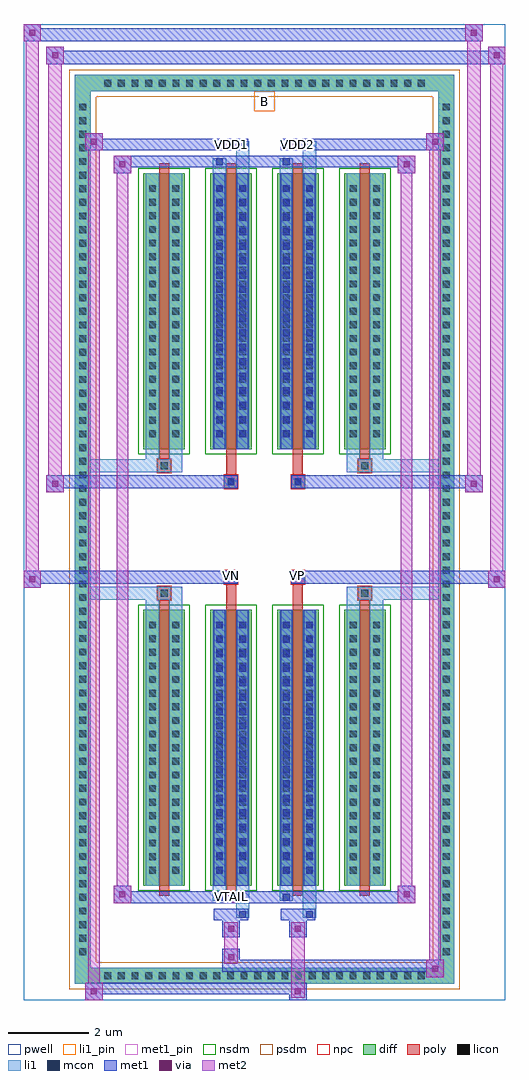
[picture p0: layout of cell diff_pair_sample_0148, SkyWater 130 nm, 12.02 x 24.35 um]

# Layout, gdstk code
import gdstk
lib = gdstk.Library(unit=1e-6, precision=5e-09)
def R(c, l, rs):  # rectangles x0, y0, x1, y1
    for r in rs: c.add(gdstk.rectangle(r[:2], r[2:], *l))
def A(c, l, x, y, w, h, nx, ny, dx, dy):  # array of equal rectangles
    R(c, l, [(x+i*dx, y+j*dy, x+i*dx+w, y+j*dy+h) for i in range(nx) for j in range(ny)])
def P(c, l, *ps):  # polygons
    for p in ps: c.add(gdstk.Polygon(p, *l))
pwell = (64, 44)
diff = (65, 20)
poly = (66, 20)
licon = (66, 44)
li1_pin = (67, 16)
li1 = (67, 20)
mcon = (67, 44)
met1_pin = (68, 16)
met1 = (68, 20)
via = (68, 44)
met2 = (69, 20)
nsdm = (93, 44)
psdm = (94, 20)
npc = (95, 20)

diff_pair_sample_0148 = lib.new_cell('diff_pair_sample_0148')
R(diff_pair_sample_0148, pwell, [(-6.01,-11.74,6.01,12.61), (-3.33,-9.93,-0.01,-0.825), (0.01,-9.93,3.33,-0.825), (-3.33,0.825,-0.01,9.93), (0.01,0.825,3.33,9.93)])
A(diff_pair_sample_0148, diff, -4.115, -11.34, 0.41, 0.41, 24, 2, 0.34, 22.27)
A(diff_pair_sample_0148, diff, -4.74, -10.745, 0.41, 0.41, 1, 63, 0, 0.34)
A(diff_pair_sample_0148, diff, 4.33, -10.745, 0.41, 0.41, 1, 63, 0, 0.34)
A(diff_pair_sample_0148, diff, -3.02, -8.885, 1.03, 6.88, 4, 2, 1.67, 10.89)
R(diff_pair_sample_0148, diff, [(-4.115,-11.34,4.115,-10.93), (-4.74,-10.745,-4.33,10.745), (4.33,-10.745,4.74,10.745), (-4.115,10.93,4.115,11.34)])
P(diff_pair_sample_0148, diff, [(4.74,11.34),(-4.74,11.34),(-4.74,-10.93),(-4.33,-10.93),(-4.33,10.93),(4.33,10.93),(4.33,-10.93),(-4.33,-10.93),(-4.74,-10.93),(-4.74,-11.34),(4.74,-11.34)])
A(diff_pair_sample_0148, poly, -2.63, -9.135, 0.25, 7.38, 4, 2, 1.67, 10.89)
R(diff_pair_sample_0148, poly, [(-2.67,-1.755,-2.34,-1.425), (-2.67,-1.755,-2.34,-1.425), (-0.96,-1.755,-0.71,-1.355), (0.71,-1.755,0.96,-1.355), (2.34,-1.755,2.67,-1.425), (2.34,-1.755,2.67,-1.425), (-1,-1.355,-0.67,-1.025), (-1,-1.355,-0.67,-1.025), (0.67,-1.355,1,-1.025), (0.67,-1.355,1,-1.025), (-1,1.025,-0.67,1.355), (-1,1.025,-0.67,1.355), (0.67,1.025,1,1.355), (0.67,1.025,1,1.355), (-0.96,1.355,-0.71,1.755), (0.71,1.355,0.96,1.755), (-2.67,1.425,-2.34,1.755), (-2.67,1.425,-2.34,1.755), (2.34,1.425,2.67,1.755), (2.34,1.425,2.67,1.755)])
A(diff_pair_sample_0148, licon, -3.995, -11.22, 0.17, 0.17, 24, 2, 0.34, 22.27)
A(diff_pair_sample_0148, licon, -4.62, -10.625, 0.17, 0.17, 1, 63, 0, 0.34)
A(diff_pair_sample_0148, licon, 4.45, -10.625, 0.17, 0.17, 1, 63, 0, 0.34)
A(diff_pair_sample_0148, licon, -2.88, -8.59, 0.17, 0.17, 1, 19, 0, 0.34)
A(diff_pair_sample_0148, licon, -2.3, -8.59, 0.17, 0.17, 1, 19, 0, 0.34)
A(diff_pair_sample_0148, licon, -1.21, -8.59, 0.17, 0.17, 1, 19, 0, 0.34)
A(diff_pair_sample_0148, licon, -0.63, -8.59, 0.17, 0.17, 1, 19, 0, 0.34)
A(diff_pair_sample_0148, licon, 0.46, -8.59, 0.17, 0.17, 1, 19, 0, 0.34)
A(diff_pair_sample_0148, licon, 1.04, -8.59, 0.17, 0.17, 1, 19, 0, 0.34)
A(diff_pair_sample_0148, licon, 2.13, -8.59, 0.17, 0.17, 1, 19, 0, 0.34)
A(diff_pair_sample_0148, licon, 2.71, -8.59, 0.17, 0.17, 1, 19, 0, 0.34)
A(diff_pair_sample_0148, licon, -2.88, 2.3, 0.17, 0.17, 1, 19, 0, 0.34)
A(diff_pair_sample_0148, licon, -2.3, 2.3, 0.17, 0.17, 1, 19, 0, 0.34)
A(diff_pair_sample_0148, licon, -1.21, 2.3, 0.17, 0.17, 1, 19, 0, 0.34)
A(diff_pair_sample_0148, licon, -0.63, 2.3, 0.17, 0.17, 1, 19, 0, 0.34)
A(diff_pair_sample_0148, licon, 0.46, 2.3, 0.17, 0.17, 1, 19, 0, 0.34)
A(diff_pair_sample_0148, licon, 1.04, 2.3, 0.17, 0.17, 1, 19, 0, 0.34)
A(diff_pair_sample_0148, licon, 2.13, 2.3, 0.17, 0.17, 1, 19, 0, 0.34)
A(diff_pair_sample_0148, licon, 2.71, 2.3, 0.17, 0.17, 1, 19, 0, 0.34)
R(diff_pair_sample_0148, licon, [(-2.59,-1.675,-2.42,-1.505), (2.42,-1.675,2.59,-1.505), (-0.92,-1.275,-0.75,-1.105), (0.75,-1.275,0.92,-1.105), (-0.92,1.105,-0.75,1.275), (0.75,1.105,0.92,1.275), (-2.59,1.505,-2.42,1.675), (2.42,1.505,2.59,1.675)])
R(diff_pair_sample_0148, li1_pin, [(-0.25,10.43,0.25,10.93)])
A(diff_pair_sample_0148, li1, -4.075, -11.3, 0.33, 0.33, 24, 2, 0.34, 22.27)
A(diff_pair_sample_0148, li1, -4.7, -10.705, 0.33, 0.33, 1, 63, 0, 0.34)
A(diff_pair_sample_0148, li1, 4.37, -10.705, 0.33, 0.33, 1, 63, 0, 0.34)
A(diff_pair_sample_0148, li1, -2.96, -8.67, 0.33, 0.33, 1, 19, 0, 0.34)
A(diff_pair_sample_0148, li1, -2.38, -8.67, 0.33, 0.33, 1, 19, 0, 0.34)
A(diff_pair_sample_0148, li1, -1.29, -8.67, 0.33, 0.33, 1, 19, 0, 0.34)
A(diff_pair_sample_0148, li1, -0.71, -8.67, 0.33, 0.33, 1, 19, 0, 0.34)
A(diff_pair_sample_0148, li1, 0.38, -8.67, 0.33, 0.33, 1, 19, 0, 0.34)
A(diff_pair_sample_0148, li1, 0.96, -8.67, 0.33, 0.33, 1, 19, 0, 0.34)
A(diff_pair_sample_0148, li1, 2.05, -8.67, 0.33, 0.33, 1, 19, 0, 0.34)
A(diff_pair_sample_0148, li1, 2.63, -8.67, 0.33, 0.33, 1, 19, 0, 0.34)
A(diff_pair_sample_0148, li1, -1.21, -8.59, 0.17, 0.17, 1, 18, 0, 0.36)
A(diff_pair_sample_0148, li1, -0.63, -8.59, 0.17, 0.17, 1, 18, 0, 0.36)
A(diff_pair_sample_0148, li1, 0.46, -8.59, 0.17, 0.17, 1, 18, 0, 0.36)
A(diff_pair_sample_0148, li1, 1.04, -8.59, 0.17, 0.17, 1, 18, 0, 0.36)
A(diff_pair_sample_0148, li1, -2.96, 2.22, 0.33, 0.33, 1, 19, 0, 0.34)
A(diff_pair_sample_0148, li1, -2.38, 2.22, 0.33, 0.33, 1, 19, 0, 0.34)
A(diff_pair_sample_0148, li1, -1.29, 2.22, 0.33, 0.33, 1, 19, 0, 0.34)
A(diff_pair_sample_0148, li1, -0.71, 2.22, 0.33, 0.33, 1, 19, 0, 0.34)
A(diff_pair_sample_0148, li1, 0.38, 2.22, 0.33, 0.33, 1, 19, 0, 0.34)
A(diff_pair_sample_0148, li1, 0.96, 2.22, 0.33, 0.33, 1, 19, 0, 0.34)
A(diff_pair_sample_0148, li1, 2.05, 2.22, 0.33, 0.33, 1, 19, 0, 0.34)
A(diff_pair_sample_0148, li1, 2.63, 2.22, 0.33, 0.33, 1, 19, 0, 0.34)
A(diff_pair_sample_0148, li1, -1.21, 2.3, 0.17, 0.17, 1, 18, 0, 0.36)
A(diff_pair_sample_0148, li1, -0.63, 2.3, 0.17, 0.17, 1, 18, 0, 0.36)
A(diff_pair_sample_0148, li1, 0.46, 2.3, 0.17, 0.17, 1, 18, 0, 0.36)
A(diff_pair_sample_0148, li1, 1.04, 2.3, 0.17, 0.17, 1, 18, 0, 0.36)
R(diff_pair_sample_0148, li1, [(-4.74,-11.34,-4.33,-10.93), (-4.74,-11.34,-4.33,-10.93), (-4.33,-11.34,4.33,-10.93), (4.33,-11.34,4.74,-10.93), (4.33,-11.34,4.74,-10.93), (-4.74,-10.93,-4.33,10.93), (4.33,-10.93,4.74,10.93), (-0.71,-9.69,-0.38,-8.885), (-0.63,-9.69,-0.46,-9.52), (0.96,-9.69,1.29,-8.885), (1.04,-9.69,1.21,-9.52), (-1.29,-9.26,-0.96,-8.885), (-1.21,-9.26,-1.04,-9.09), (0.38,-9.26,0.71,-8.885), (0.46,-9.26,0.63,-9.09), (-2.96,-8.885,-2.63,-2.005), (-2.38,-8.885,-2.05,-2.005), (-1.29,-8.885,-0.96,-2.005), (-0.71,-8.885,-0.38,-2.005), (0.38,-8.885,0.71,-2.005), (0.96,-8.885,1.29,-2.005), (2.05,-8.885,2.38,-2.005), (2.63,-8.885,2.96,-2.005), (-1.21,-8.59,-1.04,-2.3), (-0.63,-8.59,-0.46,-2.3), (0.46,-8.59,0.63,-2.3), (1.04,-8.59,1.21,-2.3), (-2.96,-2.005,-2.63,-1.425), (-2.38,-2.005,-2.05,-1.425), (2.05,-2.005,2.38,-1.425), (2.63,-2.005,2.96,-1.425), (-4.74,-1.755,-2.67,-1.425), (-2.96,-1.755,-2.67,-1.425), (-2.67,-1.755,-2.34,-1.425), (-2.34,-1.755,-2.05,-1.425), (2.05,-1.755,2.34,-1.425), (2.34,-1.755,2.67,-1.425), (2.34,-1.755,4.74,-1.425), (2.67,-1.755,2.96,-1.425), (-1,-1.355,-0.67,-1.025), (0.67,-1.355,1,-1.025), (-1,1.025,-0.67,1.355), (0.67,1.025,1,1.355), (-4.74,1.425,-2.67,1.755), (-2.96,1.425,-2.67,1.755), (-2.96,1.425,-2.63,2.005), (-2.67,1.425,-2.34,1.755), (-2.38,1.425,-2.05,2.005), (-2.34,1.425,-2.05,1.755), (2.05,1.425,2.34,1.755), (2.05,1.425,2.38,2.005), (2.34,1.425,2.67,1.755), (2.34,1.425,4.74,1.755), (2.63,1.425,2.96,2.005), (2.67,1.425,2.96,1.755), (-2.96,2.005,-2.63,8.885), (-2.38,2.005,-2.05,8.885), (-1.29,2.005,-0.96,8.885), (-0.71,2.005,-0.38,8.885), (0.38,2.005,0.71,8.885), (0.96,2.005,1.29,8.885), (2.05,2.005,2.38,8.885), (2.63,2.005,2.96,8.885), (-1.21,2.3,-1.04,8.59), (-0.63,2.3,-0.46,8.59), (0.46,2.3,0.63,8.59), (1.04,2.3,1.21,8.59), (-1.29,8.885,-0.96,9.26), (-0.71,8.885,-0.38,9.69), (0.38,8.885,0.71,9.26), (0.96,8.885,1.29,9.69), (-1.21,9.09,-1.04,9.26), (0.46,9.09,0.63,9.26), (-0.63,9.52,-0.46,9.69), (1.04,9.52,1.21,9.69), (-4.74,10.93,-4.33,11.34), (-4.74,10.93,-4.33,11.34), (-4.33,10.93,4.33,11.34), (4.33,10.93,4.74,11.34), (4.33,10.93,4.74,11.34)])
A(diff_pair_sample_0148, mcon, -1.21, -8.59, 0.17, 0.17, 1, 18, 0, 0.36)
A(diff_pair_sample_0148, mcon, -0.63, -8.59, 0.17, 0.17, 1, 18, 0, 0.36)
A(diff_pair_sample_0148, mcon, 0.46, -8.59, 0.17, 0.17, 1, 18, 0, 0.36)
A(diff_pair_sample_0148, mcon, 1.04, -8.59, 0.17, 0.17, 1, 18, 0, 0.36)
A(diff_pair_sample_0148, mcon, -1.21, 2.3, 0.17, 0.17, 1, 18, 0, 0.36)
A(diff_pair_sample_0148, mcon, -0.63, 2.3, 0.17, 0.17, 1, 18, 0, 0.36)
A(diff_pair_sample_0148, mcon, 0.46, 2.3, 0.17, 0.17, 1, 18, 0, 0.36)
A(diff_pair_sample_0148, mcon, 1.04, 2.3, 0.17, 0.17, 1, 18, 0, 0.36)
R(diff_pair_sample_0148, mcon, [(-0.63,-9.69,-0.46,-9.52), (1.04,-9.69,1.21,-9.52), (-1.21,-9.26,-1.04,-9.09), (0.46,-9.26,0.63,-9.09), (-0.92,-1.275,-0.75,-1.105), (0.75,-1.275,0.92,-1.105), (-0.92,1.105,-0.75,1.275), (0.75,1.105,0.92,1.275), (-1.21,9.09,-1.04,9.26), (0.46,9.09,0.63,9.26), (-0.63,9.52,-0.46,9.69), (1.04,9.52,1.21,9.69)])
R(diff_pair_sample_0148, met1_pin, [(-0.97,-9.3,-0.7,-9.03), (-0.97,-1.295,-0.7,-1.025), (0.7,-1.295,0.97,-1.025), (-0.97,9.48,-0.7,9.75), (0.7,9.48,0.97,9.75)])
A(diff_pair_sample_0148, met1, -1.27, -8.65, 0.29, 0.29, 1, 18, 0, 0.36)
A(diff_pair_sample_0148, met1, -0.69, -8.65, 0.29, 0.29, 1, 18, 0, 0.36)
A(diff_pair_sample_0148, met1, 0.4, -8.65, 0.29, 0.29, 1, 18, 0, 0.36)
A(diff_pair_sample_0148, met1, 0.98, -8.65, 0.29, 0.29, 1, 18, 0, 0.36)
A(diff_pair_sample_0148, met1, -1.27, 2.24, 0.29, 0.29, 1, 18, 0, 0.36)
A(diff_pair_sample_0148, met1, -0.69, 2.24, 0.29, 0.29, 1, 18, 0, 0.36)
A(diff_pair_sample_0148, met1, 0.4, 2.24, 0.29, 0.29, 1, 18, 0, 0.36)
A(diff_pair_sample_0148, met1, 0.98, 2.24, 0.29, 0.29, 1, 18, 0, 0.36)
R(diff_pair_sample_0148, met1, [(-4.47,-11.74,-4.04,-11.31), (0.62,-11.74,1.05,-11.31), (-4.47,-11.6,1.05,-11.31), (4.04,-11.17,4.47,-10.74), (-1.05,-11.03,4.47,-10.74), (-1.05,-10.89,-0.62,-10.46), (-1.05,-10.18,-0.62,-9.75), (0.62,-10.18,1.05,-9.75), (-1.27,-9.75,-0.4,-9.46), (-0.69,-9.75,-0.4,-9.46), (0.4,-9.75,1.27,-9.46), (0.98,-9.75,1.27,-9.46), (-3.76,-9.32,-3.33,-8.89), (-3.76,-9.32,-1.27,-9.03), (-1.27,-9.32,-0.98,-9.03), (-1.27,-9.32,-0.4,-9.03), (-0.4,-9.32,0.4,-9.03), (0.4,-9.32,0.69,-9.03), (0.4,-9.32,1.27,-9.03), (1.27,-9.32,3.76,-9.03), (3.33,-9.32,3.76,-8.89), (-1.27,-8.885,-0.98,-2.005), (-0.69,-8.885,-0.4,-2.005), (0.4,-8.885,0.69,-2.005), (0.98,-8.885,1.27,-2.005), (-6.01,-1.455,-5.58,-1.025), (5.58,-1.455,6.01,-1.025), (-6.01,-1.355,-0.67,-1.025), (-1,-1.355,-0.67,-1.025), (0.67,-1.355,1,-1.025), (0.67,-1.355,6.01,-1.025), (-0.98,-1.335,-0.69,-1.045), (0.69,-1.335,0.98,-1.045), (-5.44,0.925,-5.01,1.355), (5.01,0.925,5.44,1.355), (-5.44,1.025,-1,1.355), (-1,1.025,-0.67,1.355), (0.67,1.025,1,1.355), (1,1.025,5.44,1.355), (-0.98,1.045,-0.69,1.335), (0.69,1.045,0.98,1.335), (-1.27,2.005,-0.98,8.885), (-0.69,2.005,-0.4,8.885), (0.4,2.005,0.69,8.885), (0.98,2.005,1.27,8.885), (-3.76,8.89,-3.33,9.32), (3.33,8.89,3.76,9.32), (-3.76,9.03,-1.27,9.32), (-1.27,9.03,-0.98,9.32), (-1.27,9.03,-0.4,9.32), (-0.4,9.03,0.4,9.32), (0.4,9.03,0.69,9.32), (0.4,9.03,1.27,9.32), (1.27,9.03,3.76,9.32), (-4.47,9.46,-4.04,9.89), (-4.47,9.46,-1.27,9.75), (-1.27,9.46,-0.4,9.75), (-0.69,9.46,-0.4,9.75), (0.4,9.46,1.27,9.75), (0.98,9.46,1.27,9.75), (1.27,9.46,4.47,9.75), (4.04,9.46,4.47,9.89), (-5.44,11.61,-5.01,12.04), (-5.44,11.61,-3.33,11.94), (-3.33,11.61,3.33,11.94), (3.33,11.61,6.01,11.94), (5.58,11.61,6.01,12.04), (-6.01,12.18,-5.58,12.61), (-6.01,12.18,-3.33,12.51), (-3.33,12.18,3.33,12.51), (3.33,12.18,5.44,12.51), (5.01,12.18,5.44,12.61)])
R(diff_pair_sample_0148, via, [(-4.33,-11.6,-4.18,-11.45), (0.76,-11.6,0.91,-11.45), (4.18,-11.03,4.33,-10.88), (-0.91,-10.75,-0.76,-10.6), (-0.91,-10.04,-0.76,-9.89), (0.76,-10.04,0.91,-9.89), (-3.62,-9.18,-3.47,-9.03), (3.47,-9.18,3.62,-9.03), (-5.87,-1.315,-5.72,-1.165), (5.72,-1.315,5.87,-1.165), (-5.3,1.065,-5.15,1.215), (5.15,1.065,5.3,1.215), (-3.62,9.03,-3.47,9.18), (3.47,9.03,3.62,9.18), (-4.33,9.6,-4.18,9.75), (4.18,9.6,4.33,9.75), (-5.3,11.75,-5.15,11.9), (5.72,11.75,5.87,11.9), (-5.87,12.32,-5.72,12.47), (5.15,12.32,5.3,12.47)])
R(diff_pair_sample_0148, met2, [(-4.47,-11.74,-4.04,-11.31), (-4.4,-11.74,-4.11,9.89), (-4.11,-11.74,-4.04,-11.31), (-4.42,-11.69,-4.09,-11.36), (0.67,-11.69,1,-11.36), (0.67,-11.36,1,-10.13), (4.04,-11.17,4.47,-10.74), (4.11,-11.17,4.4,9.89), (4.4,-11.17,4.47,-10.74), (4.09,-11.12,4.42,-10.79), (-1,-10.84,-0.67,-10.51), (-1,-10.51,-0.67,-10.13), (-1,-10.13,-0.67,-9.8), (0.67,-10.13,1,-9.8), (-3.76,-9.32,-3.33,-8.89), (-3.69,-9.32,-3.4,9.32), (-3.4,-9.32,-3.33,-8.89), (3.33,-9.32,3.76,-8.89), (3.4,-9.32,3.69,9.32), (3.69,-9.32,3.76,-8.89), (-3.71,-9.27,-3.38,-8.94), (3.38,-9.27,3.71,-8.94), (-6.01,-1.455,-5.58,-1.025), (-5.96,-1.455,-5.63,12.61), (-5.63,-1.455,-5.58,-1.025), (5.58,-1.455,6.01,-1.025), (5.63,-1.455,5.96,12.04), (5.96,-1.455,6.01,-1.025), (-5.96,-1.405,-5.63,-1.075), (5.63,-1.405,5.96,-1.075), (-5.44,0.925,-5.01,1.355), (-5.39,0.925,-5.06,12.04), (-5.06,0.925,-5.01,1.355), (5.01,0.925,5.44,1.355), (5.06,0.925,5.39,12.61), (5.39,0.925,5.44,1.355), (-5.39,0.975,-5.06,1.305), (5.06,0.975,5.39,1.305), (-3.76,8.89,-3.33,9.32), (-3.4,8.89,-3.33,9.32), (3.33,8.89,3.76,9.32), (3.69,8.89,3.76,9.32), (-3.71,8.94,-3.38,9.27), (3.38,8.94,3.71,9.27), (-4.47,9.46,-4.04,9.89), (-4.11,9.46,-4.04,9.89), (4.04,9.46,4.47,9.89), (4.4,9.46,4.47,9.89), (-4.42,9.51,-4.09,9.84), (4.09,9.51,4.42,9.84), (-5.44,11.61,-5.01,12.04), (-5.06,11.61,-5.01,12.04), (5.58,11.61,6.01,12.04), (5.96,11.61,6.01,12.04), (-5.39,11.66,-5.06,11.99), (5.63,11.66,5.96,11.99), (-6.01,12.18,-5.58,12.61), (-5.63,12.18,-5.58,12.61), (5.01,12.18,5.44,12.61), (5.39,12.18,5.44,12.61), (-5.96,12.23,-5.63,12.56), (5.06,12.23,5.39,12.56)])
A(diff_pair_sample_0148, nsdm, -3.15, -9.015, 1.29, 7.14, 4, 2, 1.67, 10.89)
P(diff_pair_sample_0148, psdm, [(4.87,11.47),(-4.87,11.47),(-4.87,-10.8),(-4.2,-10.8),(-4.2,10.8),(4.2,10.8),(4.2,-10.8),(-4.2,-10.8),(-4.87,-10.8),(-4.87,-11.47),(4.87,-11.47)])
R(diff_pair_sample_0148, npc, [(-2.69,-1.775,-2.32,-1.405), (2.32,-1.775,2.69,-1.405), (-1.02,-1.375,-0.65,-1.005), (0.65,-1.375,1.02,-1.005), (-1.02,1.005,-0.65,1.375), (0.65,1.005,1.02,1.375), (-2.69,1.405,-2.32,1.775), (2.32,1.405,2.69,1.775)])
diff_pair_sample_0148.add(gdstk.Label('VTAIL', (-0.835,-9.165), layer=68, texttype=5))
diff_pair_sample_0148.add(gdstk.Label('VN', (-0.835,-1.16), layer=68, texttype=5))
diff_pair_sample_0148.add(gdstk.Label('VP', (0.835,-1.16), layer=68, texttype=5))
diff_pair_sample_0148.add(gdstk.Label('B', (0,10.68), layer=67, texttype=5))
diff_pair_sample_0148.add(gdstk.Label('VDD2', (0.835,9.615), layer=68, texttype=5))
diff_pair_sample_0148.add(gdstk.Label('VDD1', (-0.835,9.615), layer=68, texttype=5))

lib.write_gds('diff_pair_sample_0148.gds')
